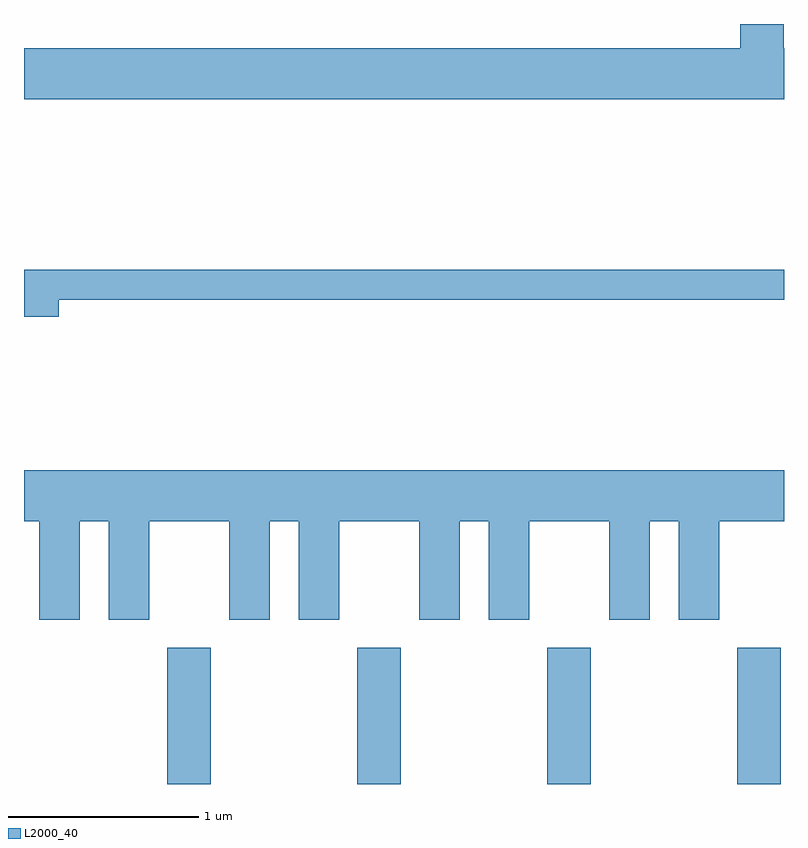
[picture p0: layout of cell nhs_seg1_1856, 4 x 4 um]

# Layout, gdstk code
import gdstk
lib = gdstk.Library(unit=1e-6, precision=1e-09)
def R(c, l, rs):  # rectangles x0, y0, x1, y1
    for r in rs: c.add(gdstk.rectangle(r[:2], r[2:], *l))
def A(c, l, x, y, w, h, nx, ny, dx, dy):  # array of equal rectangles
    R(c, l, [(x+i*dx, y+j*dy, x+i*dx+w, y+j*dy+h) for i in range(nx) for j in range(ny)])
def P(c, l, *ps):  # polygons
    for p in ps: c.add(gdstk.Polygon(p, *l))
L2000_40 = (2000, 40)

nhs_seg1_1856 = lib.new_cell('nhs_seg1_1856')
A(nhs_seg1_1856, L2000_40, 242.366, 933.712, 0.228, 0.717, 4, 1, 1, 0)
P(nhs_seg1_1856, L2000_40, [(245.611,937.584),(245.609,937.584),(245.609,937.712),(245.381,937.712),(245.381,937.584),(241.611,937.584),(241.611,937.316),(245.611,937.316)],
  [(241.794,936.261),(245.611,936.261),(245.611,936.419),(241.611,936.419),(241.611,936.171),(241.794,936.171)],
  [(241.904,935.096),(242.056,935.096),(242.056,934.576),(242.269,934.576),(242.269,935.096),(242.691,935.096),(242.691,934.576),(242.904,934.576),(242.904,935.096),(243.056,935.096),(243.056,934.576),(243.269,934.576),(243.269,935.096),(243.691,935.096),(243.691,934.576),(243.904,934.576),(243.904,935.096),(244.056,935.096),(244.056,934.576),(244.269,934.576),(244.269,935.096),(244.691,935.096),(244.691,934.576),(244.904,934.576),(244.904,935.096),(245.056,935.096),(245.056,934.576),(245.269,934.576),(245.269,935.096),(245.611,935.096),(245.611,935.364),(241.611,935.364),(241.611,935.096),(241.691,935.096),(241.691,934.576),(241.904,934.576)])

lib.write_gds('nhs_seg1_1856.gds')
